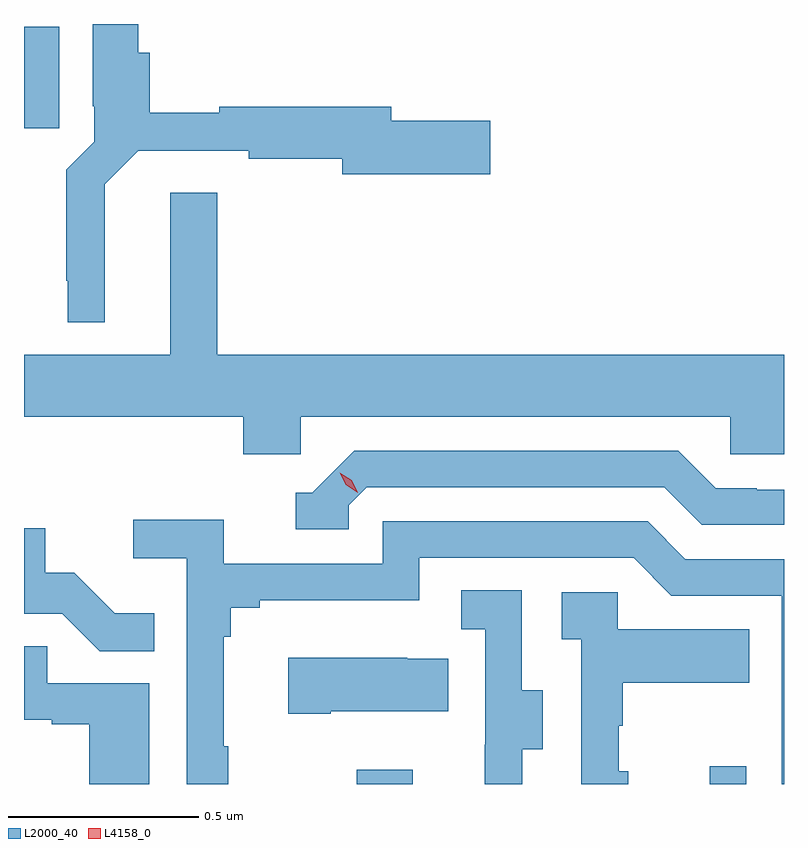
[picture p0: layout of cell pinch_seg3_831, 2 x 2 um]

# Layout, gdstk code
import gdstk
lib = gdstk.Library(unit=1e-6, precision=1e-09)
def R(c, l, rs):  # rectangles x0, y0, x1, y1
    for r in rs: c.add(gdstk.rectangle(r[:2], r[2:], *l))
def P(c, l, *ps):  # polygons
    for p in ps: c.add(gdstk.Polygon(p, *l))
L2000_40 = (2000, 40)
L4158_0 = (4158, 0)

pinch_seg3_831 = lib.new_cell('pinch_seg3_831')
R(pinch_seg3_831, L2000_40, [(864.016,721.262,864.163,721.3), (864.944,721.262,865.041,721.309), (863.14,722.988,863.233,723.255)])
P(pinch_seg3_831, L2000_40, [(863.353,722.84),(863.44,722.928),(863.731,722.928),(863.731,722.908),(863.978,722.908),(863.978,722.866),(864.367,722.866),(864.367,723.008),(864.106,723.008),(864.106,723.044),(863.654,723.044),(863.654,723.029),(863.471,723.029),(863.471,723.186),(863.44,723.186),(863.44,723.262),(863.321,723.262),(863.321,723.046),(863.325,723.046),(863.325,722.952),(863.251,722.878),(863.251,722.587),(863.255,722.587),(863.255,722.477),(863.353,722.477)],
  [(863.868,722.228),(864.999,722.228),(864.999,722.13),(865.14,722.13),(865.14,722.392),(863.648,722.392),(863.648,722.818),(863.525,722.818),(863.525,722.392),(863.14,722.392),(863.14,722.228),(863.717,722.228),(863.717,722.13),(863.868,722.13)],
  [(863.994,721.995),(864.042,722.043),(864.825,722.043),(864.924,721.944),(865.14,721.944),(865.14,722.037),(865.068,722.037),(865.068,722.04),(864.961,722.04),(864.862,722.139),(864.009,722.139),(863.898,722.028),(863.855,722.028),(863.855,721.932),(863.994,721.932)],
  [(863.677,721.361),(863.665,721.361),(863.665,721.649),(863.684,721.649),(863.684,721.726),(863.761,721.726),(863.761,721.745),(864.18,721.745),(864.18,721.857),(864.744,721.857),(864.843,721.758),(865.134,721.758),(865.134,721.262),(865.14,721.262),(865.14,721.854),(864.88,721.854),(864.781,721.953),(864.084,721.953),(864.084,721.842),(863.666,721.842),(863.666,721.958),(863.427,721.958),(863.427,721.856),(863.568,721.856),(863.568,721.262),(863.677,721.262)],
  [(863.483,721.711),(863.379,721.711),(863.272,721.818),(863.196,721.818),(863.196,721.935),(863.14,721.935),(863.14,721.71),(863.241,721.71),(863.339,721.612),(863.483,721.612)],
  [(864.451,721.354),(864.505,721.354),(864.505,721.509),(864.45,721.509),(864.45,721.772),(864.291,721.772),(864.291,721.669),(864.354,721.669),(864.354,721.365),(864.353,721.365),(864.353,721.262),(864.451,721.262)],
  [(864.73,721.296),(864.705,721.296),(864.705,721.415),(864.715,721.415),(864.715,721.529),(865.049,721.529),(865.049,721.669),(864.702,721.669),(864.702,721.767),(864.555,721.767),(864.555,721.643),(864.606,721.643),(864.606,721.262),(864.73,721.262)],
  [(863.47,721.527),(863.201,721.527),(863.201,721.625),(863.14,721.625),(863.14,721.431),(863.213,721.431),(863.213,721.419),(863.312,721.419),(863.312,721.262),(863.47,721.262)],
  [(863.947,721.454),(864.257,721.454),(864.257,721.591),(864.149,721.591),(864.149,721.594),(863.835,721.594),(863.835,721.447),(863.947,721.447)])
P(pinch_seg3_831, L4158_0, [(864.018,722.029),(863.987,722.049),(863.971,722.081),(863.971,722.081),(863.971,722.081),(864.002,722.062),(864.018,722.029),(864.018,722.029)])

lib.write_gds('pinch_seg3_831.gds')
